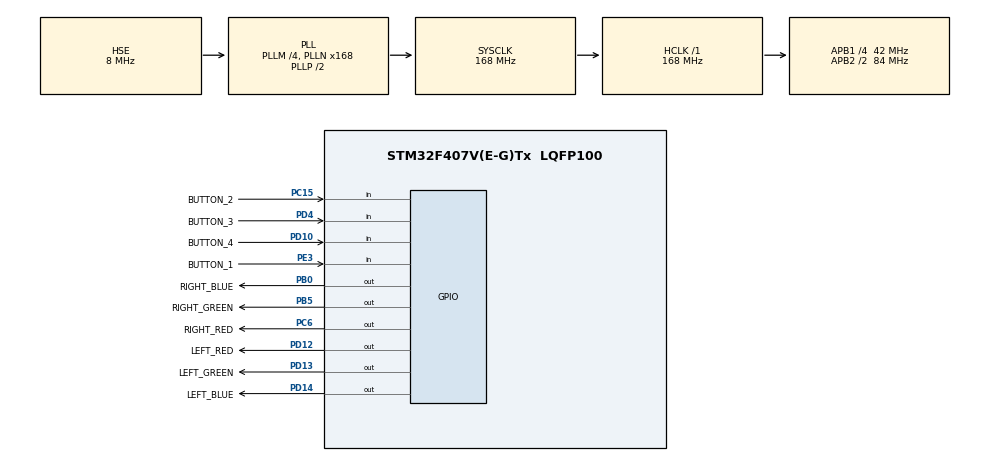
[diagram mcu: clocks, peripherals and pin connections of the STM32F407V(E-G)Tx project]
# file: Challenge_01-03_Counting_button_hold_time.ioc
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Mcu.Family=STM32F4
Mcu.Name=STM32F407V(E-G)Tx
Mcu.Package=LQFP100
NVIC.PriorityGroup=NVIC_PRIORITYGROUP_4
NVIC.TIM6_DAC_IRQn=true\:0\:0\:false\:true\:true\:1\:true\:true\:true
PB0.GPIO_Label=RIGHT_BLUE
PB0.GPIO_ModeDefaultOutputPP=GPIO_MODE_OUTPUT_PP
PB0.GPIO_PuPd=GPIO_NOPULL
PB0.GPIO_Speed=GPIO_SPEED_FREQ_LOW
PB0.PinState=GPIO_PIN_SET
PB0.Signal=GPIO_Output
PB5.GPIO_Label=RIGHT_GREEN
PB5.GPIO_ModeDefaultOutputPP=GPIO_MODE_OUTPUT_PP
PB5.GPIO_PuPd=GPIO_NOPULL
PB5.GPIO_Speed=GPIO_SPEED_FREQ_LOW
PB5.PinState=GPIO_PIN_SET
PB5.Signal=GPIO_Output
PC15-OSC32_OUT.GPIO_Label=BUTTON_2
PC15-OSC32_OUT.GPIO_Mode=GPIO_MODE_INPUT
PC15-OSC32_OUT.GPIO_PuPd=GPIO_NOPULL
PC15-OSC32_OUT.Signal=GPIO_Input
PC6.GPIO_Label=RIGHT_RED
PC6.GPIO_ModeDefaultOutputPP=GPIO_MODE_OUTPUT_PP
PC6.GPIO_PuPd=GPIO_NOPULL
PC6.GPIO_Speed=GPIO_SPEED_FREQ_LOW
PC6.PinState=GPIO_PIN_SET
PC6.Signal=GPIO_Output
PD10.GPIO_Label=BUTTON_4
PD10.GPIO_Mode=GPIO_MODE_INPUT
PD10.GPIO_PuPd=GPIO_NOPULL
PD10.Signal=GPIO_Input
PD12.GPIO_Label=LEFT_RED
PD12.GPIO_ModeDefaultOutputPP=GPIO_MODE_OUTPUT_PP
PD12.GPIO_PuPd=GPIO_NOPULL
PD12.GPIO_Speed=GPIO_SPEED_FREQ_LOW
PD12.PinState=GPIO_PIN_SET
PD12.Signal=GPIO_Output
PD13.GPIO_Label=LEFT_GREEN
PD13.GPIO_ModeDefaultOutputPP=GPIO_MODE_OUTPUT_PP
PD13.GPIO_PuPd=GPIO_NOPULL
PD13.GPIO_Speed=GPIO_SPEED_FREQ_LOW
PD13.PinState=GPIO_PIN_SET
PD13.Signal=GPIO_Output
PD14.GPIO_Label=LEFT_BLUE
PD14.GPIO_ModeDefaultOutputPP=GPIO_MODE_OUTPUT_PP
PD14.GPIO_PuPd=GPIO_NOPULL
PD14.GPIO_Speed=GPIO_SPEED_FREQ_LOW
PD14.PinState=GPIO_PIN_SET
PD14.Signal=GPIO_Output
PD4.GPIO_Label=BUTTON_3
PD4.GPIO_Mode=GPIO_MODE_INPUT
PD4.GPIO_PuPd=GPIO_NOPULL
PD4.Signal=GPIO_Input
PE3.GPIO_Label=BUTTON_1
PE3.GPIO_Mode=GPIO_MODE_INPUT
PE3.GPIO_PuPd=GPIO_NOPULL
PE3.Signal=GPIO_Input
PH0-OSC_IN.Mode=HSE-External-Oscillator
PH0-OSC_IN.Signal=RCC_OSC_IN
PH1-OSC_OUT.Mode=HSE-External-Oscillator
PH1-OSC_OUT.Signal=RCC_OSC_OUT
ProjectManager.HeapSize=0x200
ProjectManager.StackSize=0x400
ProjectManager.TargetToolchain=STM32CubeIDE
RCC.48MHZClocksFreq_Value=84000000
RCC.AHBFreq_Value=168000000
RCC.APB1CLKDivider=RCC_HCLK_DIV4
RCC.APB1Freq_Value=42000000
RCC.APB1TimFreq_Value=84000000
RCC.APB2CLKDivider=RCC_HCLK_DIV2
RCC.APB2Freq_Value=84000000
RCC.APB2TimFreq_Value=168000000
RCC.CortexFreq_Value=168000000
RCC.HCLKFreq_Value=168000000
RCC.HSE_VALUE=8000000
RCC.HSI_VALUE=16000000
RCC.LSE_VALUE=32768
RCC.PLLM=4
RCC.PLLN=168
RCC.PLLSourceVirtual=RCC_PLLSOURCE_HSE
RCC.SYSCLKFreq_VALUE=168000000
RCC.SYSCLKSource=RCC_SYSCLKSOURCE_PLLCLK
RCC.VCOOutputFreq_Value=336000000
TIM6.Period=8400 - 1
TIM6.Prescaler=10 - 1
VP_TIM6_VS_ClockSourceINT.Mode=Enable_Timer
board=custom

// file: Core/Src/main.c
/* USER CODE BEGIN Header */
/**
  ******************************************************************************
  * @file           : main.c
  * @brief          : Main program body
  ******************************************************************************
  * @attention
  *
  * Copyright (c) 2025 STMicroelectronics.
  * All rights reserved.
  *
  * This software is licensed under terms that can be found in the LICENSE file
  * in the root directory of this software component.
  * If no LICENSE file comes with this software, it is provided AS-IS.
  *
  ******************************************************************************
  */
/* USER CODE END Header */
#include "main.h"

/* USER CODE BEGIN Includes */
#include "led.h"
#include "button.h"
#include "clock.h"
#include "segment.h"
#include "timer.h"
/* USER CODE END Includes */

TIM_HandleTypeDef htim6;

void SystemClock_Config(void);
static void MX_GPIO_Init(void);
static void MX_TIM6_Init(void);
static void MX_NVIC_Init(void);

int main(void)
{

  /* MCU Configuration--------------------------------------------------------*/

  /* Reset of all peripherals, Initializes the Flash interface and the Systick. */
  HAL_Init();

  /* Configure the system clock */
  SystemClock_Config();

  /* Initialize all configured peripherals */
  MX_GPIO_Init();
  MX_TIM6_Init();

  /* Initialize interrupts */
  MX_NVIC_Init();
  /* USER CODE BEGIN 2 */
  HAL_TIM_Base_Start_IT(&htim6);
  _7SEG_GPIO_Init();
  /* USER CODE END 2 */

  /* Infinite loop */
  /* USER CODE BEGIN WHILE */
  while (1)
  {
	  update_button(BUTTON_1);

	  operate_left_led(BUTTON_1, LEFT_RED);
	  operate_right_led(BUTTON_1, RIGHT_RED);

	  update_last_button(BUTTON_1);

	  operate_segment();

    /* USER CODE END WHILE */

  }
}

void SystemClock_Config(void)
{
  RCC_OscInitTypeDef RCC_OscInitStruct = {0};
  RCC_ClkInitTypeDef RCC_ClkInitStruct = {0};

  /** Configure the main internal regulator output voltage
  */
  __HAL_RCC_PWR_CLK_ENABLE();
  __HAL_PWR_VOLTAGESCALING_CONFIG(PWR_REGULATOR_VOLTAGE_SCALE1);

  /** Initializes the RCC Oscillators according to the specified parameters
  * in the RCC_OscInitTypeDef structure.
  */
  RCC_OscInitStruct.OscillatorType = RCC_OSCILLATORTYPE_HSE;
  RCC_OscInitStruct.HSEState = RCC_HSE_ON;
  RCC_OscInitStruct.PLL.PLLState = RCC_PLL_ON;
  RCC_OscInitStruct.PLL.PLLSource = RCC_PLLSOURCE_HSE;
  RCC_OscInitStruct.PLL.PLLM = 4;
  RCC_OscInitStruct.PLL.PLLN = 168;
  RCC_OscInitStruct.PLL.PLLP = RCC_PLLP_DIV2;
  RCC_OscInitStruct.PLL.PLLQ = 4;
  if (HAL_RCC_OscConfig(&RCC_OscInitStruct) != HAL_OK)
  {
    Error_Handler();
  }

  /** Initializes the CPU, AHB and APB buses clocks
  */
  RCC_ClkInitStruct.ClockType = RCC_CLOCKTYPE_HCLK|RCC_CLOCKTYPE_SYSCLK
                              |RCC_CLOCKTYPE_PCLK1|RCC_CLOCKTYPE_PCLK2;
  RCC_ClkInitStruct.SYSCLKSource = RCC_SYSCLKSOURCE_PLLCLK;
  RCC_ClkInitStruct.AHBCLKDivider = RCC_SYSCLK_DIV1;
  RCC_ClkInitStruct.APB1CLKDivider = RCC_HCLK_DIV4;
  RCC_ClkInitStruct.APB2CLKDivider = RCC_HCLK_DIV2;

  if (HAL_RCC_ClockConfig(&RCC_ClkInitStruct, FLASH_LATENCY_5) != HAL_OK)
  {
    Error_Handler();
  }
}

/**
  * @brief NVIC Configuration.
  * @retval None
  */
static void MX_NVIC_Init(void)
{
  /* TIM6_DAC_IRQn interrupt configuration */
  HAL_NVIC_SetPriority(TIM6_DAC_IRQn, 0, 0);
  HAL_NVIC_EnableIRQ(TIM6_DAC_IRQn);
}

static void MX_TIM6_Init(void)
{

  TIM_MasterConfigTypeDef sMasterConfig = {0};

  htim6.Instance = TIM6;
  htim6.Init.Prescaler = 10 - 1;
  htim6.Init.CounterMode = TIM_COUNTERMODE_UP;
  htim6.Init.Period = 8400 - 1;
  htim6.Init.AutoReloadPreload = TIM_AUTORELOAD_PRELOAD_DISABLE;
  if (HAL_TIM_Base_Init(&htim6) != HAL_OK)
  {
    Error_Handler();
  }
  sMasterConfig.MasterOutputTrigger = TIM_TRGO_RESET;
  sMasterConfig.MasterSlaveMode = TIM_MASTERSLAVEMODE_DISABLE;
  if (HAL_TIMEx_MasterConfigSynchronization(&htim6, &sMasterConfig) != HAL_OK)
  {
    Error_Handler();
  }

}

static void MX_GPIO_Init(void)
{
  GPIO_InitTypeDef GPIO_InitStruct = {0};

  /* GPIO Ports Clock Enable */
  __HAL_RCC_GPIOE_CLK_ENABLE();
  __HAL_RCC_GPIOC_CLK_ENABLE();
  __HAL_RCC_GPIOH_CLK_ENABLE();
  __HAL_RCC_GPIOB_CLK_ENABLE();
  __HAL_RCC_GPIOD_CLK_ENABLE();

  /*Configure GPIO pin Output Level */
  HAL_GPIO_WritePin(GPIOB, RIGHT_BLUE_Pin|RIGHT_GREEN_Pin, GPIO_PIN_SET);

  /*Configure GPIO pin Output Level */
  HAL_GPIO_WritePin(GPIOD, LEFT_RED_Pin|LEFT_GREEN_Pin|LEFT_BLUE_Pin, GPIO_PIN_SET);

  /*Configure GPIO pin Output Level */
  HAL_GPIO_WritePin(RIGHT_RED_GPIO_Port, RIGHT_RED_Pin, GPIO_PIN_SET);

  /*Configure GPIO pin : BUTTON_1_Pin */
  GPIO_InitStruct.Pin = BUTTON_1_Pin;
  GPIO_InitStruct.Mode = GPIO_MODE_INPUT;
  GPIO_InitStruct.Pull = GPIO_NOPULL;
  HAL_GPIO_Init(BUTTON_1_GPIO_Port, &GPIO_InitStruct);

  /*Configure GPIO pin : BUTTON_2_Pin */
  GPIO_InitStruct.Pin = BUTTON_2_Pin;
  GPIO_InitStruct.Mode = GPIO_MODE_INPUT;
  GPIO_InitStruct.Pull = GPIO_NOPULL;
  HAL_GPIO_Init(BUTTON_2_GPIO_Port, &GPIO_InitStruct);

  /*Configure GPIO pins : RIGHT_BLUE_Pin RIGHT_GREEN_Pin */
  GPIO_InitStruct.Pin = RIGHT_BLUE_Pin|RIGHT_GREEN_Pin;
  GPIO_InitStruct.Mode = GPIO_MODE_OUTPUT_PP;
  GPIO_InitStruct.Pull = GPIO_NOPULL;
  GPIO_InitStruct.Speed = GPIO_SPEED_FREQ_LOW;
  HAL_GPIO_Init(GPIOB, &GPIO_InitStruct);

  /*Configure GPIO pins : BUTTON_4_Pin BUTTON_3_Pin */
  GPIO_InitStruct.Pin = BUTTON_4_Pin|BUTTON_3_Pin;
  GPIO_InitStruct.Mode = GPIO_MODE_INPUT;
  GPIO_InitStruct.Pull = GPIO_NOPULL;
  HAL_GPIO_Init(GPIOD, &GPIO_InitStruct);

  /*Configure GPIO pins : LEFT_RED_Pin LEFT_GREEN_Pin LEFT_BLUE_Pin */
  GPIO_InitStruct.Pin = LEFT_RED_Pin|LEFT_GREEN_Pin|LEFT_BLUE_Pin;
  GPIO_InitStruct.Mode = GPIO_MODE_OUTPUT_PP;
  GPIO_InitStruct.Pull = GPIO_NOPULL;
  GPIO_InitStruct.Speed = GPIO_SPEED_FREQ_LOW;
  HAL_GPIO_Init(GPIOD, &GPIO_InitStruct);

  /*Configure GPIO pin : RIGHT_RED_Pin */
  GPIO_InitStruct.Pin = RIGHT_RED_Pin;
  GPIO_InitStruct.Mode = GPIO_MODE_OUTPUT_PP;
  GPIO_InitStruct.Pull = GPIO_NOPULL;
  GPIO_InitStruct.Speed = GPIO_SPEED_FREQ_LOW;
  HAL_GPIO_Init(RIGHT_RED_GPIO_Port, &GPIO_InitStruct);

}

/* USER CODE BEGIN 4 */
void HAL_TIM_PeriodElapsedCallback(TIM_HandleTypeDef* htim)
{
	if (htim->Instance == TIM6)
	{
		if (is_button_on(BUTTON_1)) count_up();
	}
}
/* USER CODE END 4 */

void Error_Handler(void)
{
  __disable_irq();
  while (1)
  {
  }
}
